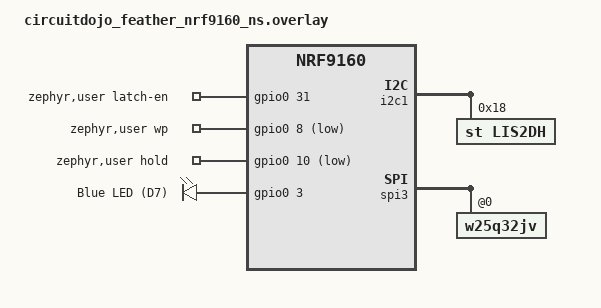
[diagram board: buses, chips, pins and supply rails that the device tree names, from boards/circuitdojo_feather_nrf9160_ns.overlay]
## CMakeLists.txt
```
# SPDX-License-Identifier: Apache-2.0

cmake_minimum_required(VERSION 3.13.1)

find_package(Zephyr HINTS $ENV{ZEPHYR_BASE})
project(deep_sleep)

target_sources(app PRIVATE src/main.c)
```

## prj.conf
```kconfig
# Stacks and heaps
CONFIG_MAIN_STACK_SIZE=4096
CONFIG_HEAP_MEM_POOL_SIZE=16384

CONFIG_DEBUG=n

# Add the accelerometer
CONFIG_I2C=y
CONFIG_SENSOR=y
CONFIG_LIS2DH=y

# SPI Flash
CONFIG_SPI=y
CONFIG_SPI_NOR=y
CONFIG_SPI_NOR_FLASH_LAYOUT_PAGE_SIZE=4096

# Enable flash operations.
CONFIG_FLASH=y
CONFIG_FLASH_MAP=y
CONFIG_FLASH_PAGE_LAYOUT=y

CONFIG_LOG=y

# Zephyr Device Power Management
CONFIG_PM_DEVICE=y

# LTE link control
CONFIG_LTE_LINK_CONTROL=y

# Modem library
CONFIG_NRF_MODEM_LIB=y

# Async
CONFIG_UART_ASYNC_API=y
CONFIG_UART_LINE_CTRL=y

# TFM fix
CONFIG_TFM_LOG_LEVEL_SILENCE=y
```

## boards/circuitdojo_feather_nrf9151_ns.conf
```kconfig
# Regulator control
CONFIG_REGULATOR=y
CONFIG_REGULATOR_NPM13XX=y

# Disable charger
CONFIG_NPM13XX_CHARGER=n
```

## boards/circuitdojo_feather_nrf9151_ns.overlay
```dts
/* Remap UART0 off P0.10/P0.11 to P0.23/P0.24 (UART1 pads). Console output
   shows up there if you tap during the boot decision window. */
&pinctrl {
	uart0_default_alt: uart0_default_alt {
		group1 {
			psels = <NRF_PSEL(UART_TX, 0, 24)>,
					<NRF_PSEL(UART_RX, 0, 23)>;
		};
	};

	uart0_sleep_alt: uart0_sleep_alt {
		group1 {
			psels = <NRF_PSEL(UART_TX, 0, 24)>,
					<NRF_PSEL(UART_RX, 0, 23)>;
			low-power-enable;
		};
	};

	/* Override SPI3 default pinctrl: split MISO into its own group
	   with a pull-down so it's clamped when the W25Q128 is in DPD
	   (MISO goes high-Z).  Prevents CMOS input-buffer shoot-through
	   on P0.5.  The weak pull is easily overdriven during active SPI
	   transactions so normal flash I/O is unaffected. */
	spi3_default: spi3_default {
		group1 {
			psels = <NRF_PSEL(SPIM_SCK, 0, 6)>,
			        <NRF_PSEL(SPIM_MOSI, 0, 7)>;
		};
		group2 {
			psels = <NRF_PSEL(SPIM_MISO, 0, 5)>;
			bias-pull-down;
		};
	};
};

&uart0 {
	pinctrl-0 = <&uart0_default_alt>;
	pinctrl-1 = <&uart0_sleep_alt>;
};
```

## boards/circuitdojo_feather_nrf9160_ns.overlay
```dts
/*
 * Copyright (c) 2020 Circuit Dojo LLC
 *
 * SPDX-License-Identifier: Apache-2.0
 */

/ {
    zephyr,user {
        latch-en-gpios = <&gpio0 31 GPIO_ACTIVE_HIGH>;
        wp-gpios = < &gpio0 8 GPIO_ACTIVE_LOW >;
        hold-gpios = < &gpio0 10 GPIO_ACTIVE_LOW >;
    };

    leds {
        compatible = "gpio-leds";
        blue_led: led_0 {
            gpios = <&gpio0 3 GPIO_ACTIVE_HIGH>;
            label = "Blue LED (D7)";
        };
    };
};

&gpio0 {
    sense-edge-mask = <0xffff>;
};

&i2c1 {
	lis2dh@18 {
		compatible = "st,lis2dh";
		reg = <0x18>;
		disconnect-sdo-sa0-pull-up;
	};
};

&spi3 {
	w25q32jv: w25q32jv@0 {
        /delete-property/ wp-gpios;
        /delete-property/ hold-gpios;
		t-enter-dpd = < 3500 >;
		t-exit-dpd = < 3500 >;
	};
};
```

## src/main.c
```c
/*
 * Copyright (c) 2022 Circuit Dojo LLC
 *
 * SPDX-License-Identifier: Apache-2.0
 */

#include <sys/errno.h>
#include <zephyr/devicetree.h>
#include <zephyr/drivers/gpio.h>
#include <zephyr/drivers/i2c.h>
#include <zephyr/drivers/mfd/npm13xx.h>
#include <zephyr/drivers/regulator.h>
#include <zephyr/drivers/sensor.h>
#include <zephyr/drivers/uart.h>
#include <zephyr/kernel.h>
#include <zephyr/logging/log.h>
#include <zephyr/pm/device.h>
LOG_MODULE_REGISTER(main);

#include <modem/lte_lc.h>
#include <modem/nrf_modem_lib.h>

/* Addresses */
#define NPM1300_BUCK_BASE 0x04U
#define NPM1300_BUCK2_OFFSET_EN_CLR 0x03U
#define NPM1300_BUCK_BUCKCTRL0 0x15U

/* Bits */
#define NPM1300_BUCK2_PULLDOWN_EN BIT(3)

/* Gpios */
static const struct gpio_dt_spec sw0 = GPIO_DT_SPEC_GET(DT_ALIAS(sw0), gpios);

static void setup_accel(void)
{
#if DT_NODE_HAS_STATUS(DT_ALIAS(accel0), okay)
  const struct device *sensor = DEVICE_DT_GET(DT_ALIAS(accel0));

  if (!device_is_ready(sensor))
  {
    LOG_ERR("Could not get accel0 device");
    return;
  }

  // Disable the device
  struct sensor_value odr = {
      .val1 = 0,
  };

  int rc = sensor_attr_set(sensor, SENSOR_CHAN_ACCEL_XYZ,
                           SENSOR_ATTR_SAMPLING_FREQUENCY, &odr);
  if (rc != 0)
  {
    LOG_ERR("Failed to set odr: %d", rc);
    return;
  }
#else
  LOG_INF("accel0 disabled in DT - skipping");
#endif
}

static int setup_gpio(void)
{

  gpio_pin_configure_dt(&sw0, GPIO_DISCONNECTED);

  return 0;
}

int setup_uart(void)                                                                                                                         
{                                                                                                                                          
  static const struct device *const console_dev =
      DEVICE_DT_GET(DT_CHOSEN(zephyr_console));                                                                                            
                                                      
  /* Stop async RX before suspending */                                                                                                    
  (void)uart_rx_disable(console_dev);                                                                                                    
                                                                                              
                                                                                                                                            
  int err = pm_device_action_run(console_dev, PM_DEVICE_ACTION_SUSPEND);                                                                 
  if (err < 0 && err != -EALREADY) {                                                                                                       
      return err;                                                                                                                          
  }                                                  
                                                                                                                                                                                                                                            
  return 0;                                                                                                                                
}

static int setup_pmic(void)
{
#if DT_NODE_HAS_STATUS(DT_NODELABEL(npm1300_pmic), okay)
    const struct device *pmic = DEVICE_DT_GET(DT_NODELABEL(npm1300_pmic));
    if (!device_is_ready(pmic)) {
        LOG_ERR("PMIC not ready");
        return -ENODEV;
    }

    /* Disable BUCK2 (no external load) and enable its pulldown so the rail
       collapses cleanly. BUCK2ENPULLDOWN is bit 3 of BUCKCTRL0. */
    int err = mfd_npm13xx_reg_update(pmic, NPM1300_BUCK_BASE,
                                 NPM1300_BUCK_BUCKCTRL0,
                                 NPM1300_BUCK2_PULLDOWN_EN,
                                 NPM1300_BUCK2_PULLDOWN_EN);
    if (err < 0) {
        LOG_ERR("BUCK2 pulldown enable failed: %d", err);
    }

    err = mfd_npm13xx_reg_write(pmic, NPM1300_BUCK_BASE,
                                NPM1300_BUCK2_OFFSET_EN_CLR, 0x01);
    if (err < 0) {
        LOG_ERR("BUCK2 disable failed: %d", err);
        return err;
    }

    return 0;
#else
    LOG_INF("npm1300_pmic disabled in DT - skipping");
    return 0;
#endif
}

int nor_storage_init(void)
{
  /* Put the W25Q128 in DPD via the spi_nor driver. */
  static const struct device *spi_nor = DEVICE_DT_GET(DT_ALIAS(ext_flash));
  int err = pm_device_action_run(spi_nor, PM_DEVICE_ACTION_SUSPEND);
  if (err < 0 && err != -EALREADY)
  {
    LOG_ERR("Unable to suspend SPI NOR flash. (err: %d)", err);
    return err;
  }

  return 0;
}

int main(void)
{
  int err = 0;

  LOG_INF("Active Sleep Sample");

  /* Setup GPIO */
  setup_gpio();

  /* Disable accel */
  setup_accel();

  /* Init NOR */
  nor_storage_init();

  /* Init modem */
  err = nrf_modem_lib_init();
  if (err < 0)
    LOG_ERR("Unable to initialize nRF Modem lib. Err: %i", err);

  /* Disable console */
  setup_uart();

  /* Disable regulator */ 
  setup_pmic();

  return 0;
}
```
